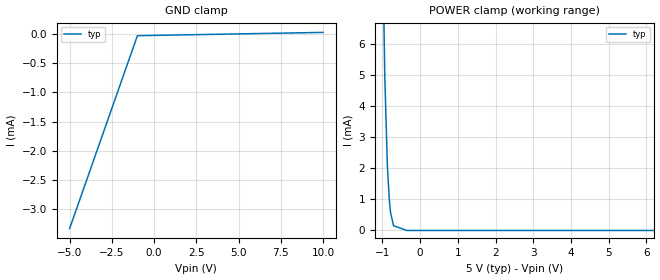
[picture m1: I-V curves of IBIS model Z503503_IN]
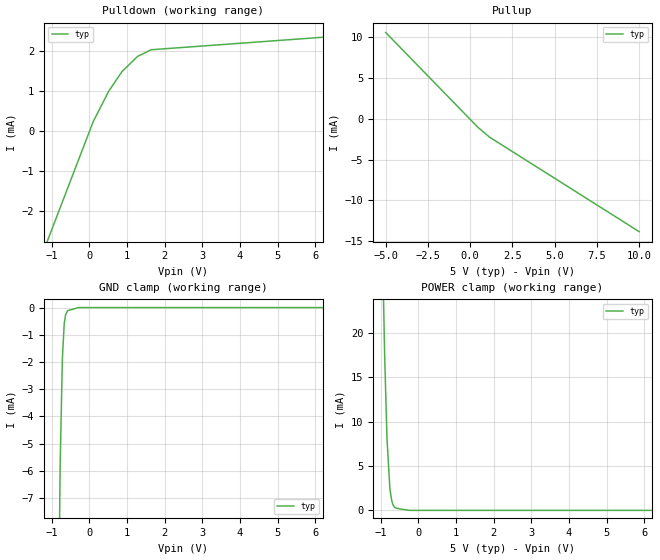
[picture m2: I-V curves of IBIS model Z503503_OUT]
| YOU ARE ONLY AUTHORIZED TO USE THIS SOFTWARE
| ACCORDING TO LICENSOR'S LICENSE RESTRICTIONS.
[IBIS Ver] 3.1
[File Name] mc14024bcl.ibs
[File Rev] 2.0
[Source] Measured and created by ICX Technology
[Date] Friday 7/14/00 9:07:51 AM
[Copyright]
| (C) COPYRIGHT 1993-2000
| MENTOR GRAPHICS CORPORATION
| ICX STANDARD LIBRARY, ICX PROJECT MODELING,
| ICX CUSTOM MODELING, ICX VENDOR MODEL
| ALL RIGHTS RESERVED.
| THE FOLLOWING ARE TRADEMARKS OR SERVICE MARKS OF
| MENTOR GRAPHICS CORPORATION:ICX (R), ICX STANDARD
| LIBRARY(R), ICX PROJECT MODELING(R), ICX CUSTOM
| MODELING(R), qualityIBIS(TM), MODELVIEWER(TM),
| AND MODELEDITOR(TM)
| ALL COPIES OF SOFTWARE, INCLUDING BUT NOT LIMITED TO
| ANY MODIFICATIONS, ENHANCEMENTS OR DERIVATIVE WORKS,
| MUST CONTAIN ALL MENTOR GRAPHICS CORPORATION'S
| NOTICES AND LEGENDS, INCLUDING THOSE EMBEDDED IN
| SOFTWARE AND THOSE AFFIXED TO SOFTWARE MEDIUM
| AND CONTAINER, AS RECEIVED FROM MENTOR GRAPHICS
| CORPORATION.
|  ZAP Model Builder 2.7
[Component] MC14024BCL
[Manufacturer] OnSemiconductor
[Package]
| variable   typ   min   max
R_pkg  .21ohms NA NA
L_pkg  4.543nH NA NA
C_pkg  1.8pF NA NA
[Pin] signal_name  model_name  R_pin  L_pin C_pin
1 CLK Z503503_IN .22 6.757n 2.434p
2 RESET Z503503_IN .212 4.757n 1.941p
3 Q7 Z503503_OUT .204 3.257n 1.448p
4 Q6 Z503503_OUT .196 2.257n .955p
5 Q5 Z503503_OUT .204 3.257n 1.448p
6 Q4 Z503503_OUT .212 4.757n 1.941p
7 VSS GND .22 6.757n 2.434p
8 NC NC .22 6.757n 2.434p
9 Q3 Z503503_OUT .212 4.757n 1.941p
10 NC NC .204 3.257n 1.448p
11 Q2 Z503503_OUT .196 2.257n .955p
12 Q1 Z503503_OUT .204 3.257n 1.448p
13 NC NC .212 4.757n 1.941p
14 VDD POWER .22 6.757n 2.434p
| Models and submodels in the file (2): Z503503_IN (Input), Z503503_OUT (Output)
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| (C) COPYRIGHT 1993-2000
| MENTOR GRAPHICS CORPORATION
| ICX STANDARD LIBRARY, ICX PROJECT MODELING,
| ICX CUSTOM MODELING, ICX VENDOR MODEL
| ALL RIGHTS RESERVED.
| THE FOLLOWING ARE TRADEMARKS OR SERVICE MARKS OF
| MENTOR GRAPHICS CORPORATION:ICX (R), ICX STANDARD
| LIBRARY(R), ICX PROJECT MODELING(R), ICX CUSTOM
| MODELING(R), qualityIBIS(TM), MODELVIEWER(TM),
| AND MODELEDITOR(TM)
| ALL COPIES OF SOFTWARE, INCLUDING BUT NOT LIMITED TO
| ANY MODIFICATIONS, ENHANCEMENTS OR DERIVATIVE WORKS,
| MUST CONTAIN ALL MENTOR GRAPHICS CORPORATION'S
| NOTICES AND LEGENDS, INCLUDING THOSE EMBEDDED IN
| SOFTWARE AND THOSE AFFIXED TO SOFTWARE MEDIUM
| AND CONTAINER, AS RECEIVED FROM MENTOR GRAPHICS
| CORPORATION.
| Model Application Version 1.89 2/18/99.
[Model] Z503503_IN
Model_type Input
Vinl = 1.500V
Vinh = 3.500V
C_comp 4.000pF NA NA
| variable typ   min   max
[Voltage Range] 5.000V NA NA
[GND Clamp Reference] 0.000V NA NA
[POWER Clamp Reference] 5.000V NA NA
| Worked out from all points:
|   POWER clamp passes 1 mA (typ) near -0.82 V on its own axis
[GND Clamp]
-5V       -3.33mA    NA         NA
-986mV    -28.15uA   NA         NA
10V       28.26uA    NA         NA
[POWER Clamp]
-5V       604.9mA    NA         NA
-1.211V   31.38mA    NA         NA
-1.064V   14.46mA    NA         NA
-938mV    4.943mA    NA         NA
-869mV    2.057mA    NA         NA
-820mV    1.013mA    NA         NA
-785mV    574.4uA    NA         NA
-707mV    154.2uA    NA         NA
-353.5mV  0A         NA         NA
10V       0A         NA         NA
| (C) COPYRIGHT 1993-2000
| MENTOR GRAPHICS CORPORATION
| ICX STANDARD LIBRARY, ICX PROJECT MODELING,
| ICX CUSTOM MODELING, ICX VENDOR MODEL
| ALL RIGHTS RESERVED.
| THE FOLLOWING ARE TRADEMARKS OR SERVICE MARKS OF
| MENTOR GRAPHICS CORPORATION:ICX (R), ICX STANDARD
| LIBRARY(R), ICX PROJECT MODELING(R), ICX CUSTOM
| MODELING(R), qualityIBIS(TM), MODELVIEWER(TM),
| AND MODELEDITOR(TM)
| ALL COPIES OF SOFTWARE, INCLUDING BUT NOT LIMITED TO
| ANY MODIFICATIONS, ENHANCEMENTS OR DERIVATIVE WORKS,
| MUST CONTAIN ALL MENTOR GRAPHICS CORPORATION'S
| NOTICES AND LEGENDS, INCLUDING THOSE EMBEDDED IN
| SOFTWARE AND THOSE AFFIXED TO SOFTWARE MEDIUM
| AND CONTAINER, AS RECEIVED FROM MENTOR GRAPHICS
| CORPORATION.
| Model Application Version 1.89 2/18/99.
[Model] Z503503_OUT
Model_type Output
Vref=0.000V
Rref=500.0Mohms
Cref=50.00pF
Vmeas=2.500V
C_comp 8.000pF NA NA
| variable typ   min   max
[Voltage Range] 5.000V NA NA
[POWER Clamp Reference] 5.000V NA NA
[Pullup Reference] 5.000V NA NA
[Pulldown Reference] 0.000V NA NA
[GND Clamp Reference] 0.000V NA NA
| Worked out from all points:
|   slope of the pulldown table from 0 to 0.75 V, typ, clamps not added: 558 ohm
|   slope of the pullup table from 0 to 0.75 V, typ, clamps not added: 505 ohm
|   GND clamp passes 1 mA (typ) near -0.68 V on its own axis
|   POWER clamp passes 1 mA (typ) near -0.70 V on its own axis
[GND Clamp]
-5V       -555.4mA   NA         NA
-771.1mV  -5.73mA    NA         NA
-712.9mV  -1.88mA    NA         NA
-664mV    -587.9uA   NA         NA
-626.9mV  -261.9uA   NA         NA
-573.5mV  -115uA     NA         NA
-286.7mV  0A         NA         NA
10V       0A         NA         NA
[Pulldown]
-5V       -12.28mA   NA         NA
105.4mV   241.7uA    NA         NA
517.4mV   1.003mA    NA         NA
869.5mV   1.493mA    NA         NA
1.285V    1.873mA    NA         NA
1.645V    2.039mA    NA         NA
10V       2.612mA    NA         NA
[Pullup]
-5V       10.57mA    NA         NA
454mV     -1.045mA   NA         NA
1.143V    -2.252mA   NA         NA
10V       -13.84mA   NA         NA
[POWER Clamp]
-5V       894.1mA    NA         NA
-893mV    17.59mA    NA         NA
-830mV    8.052mA    NA         NA
-752mV    2.368mA    NA         NA
-703mV    1.068mA    NA         NA
-669mV    617.7uA    NA         NA
-635mV    371.1uA    NA         NA
-596mV    264.2uA    NA         NA
-459mV    138.9uA    NA         NA
-229.5mV  0A         NA         NA
10V       0A         NA         NA
[Ramp]
| variable typ min max
dV/dt_r 2.508/21.59n NA NA
dV/dt_f 2.508/22.78n NA NA
R_load = 2.500kOhms
